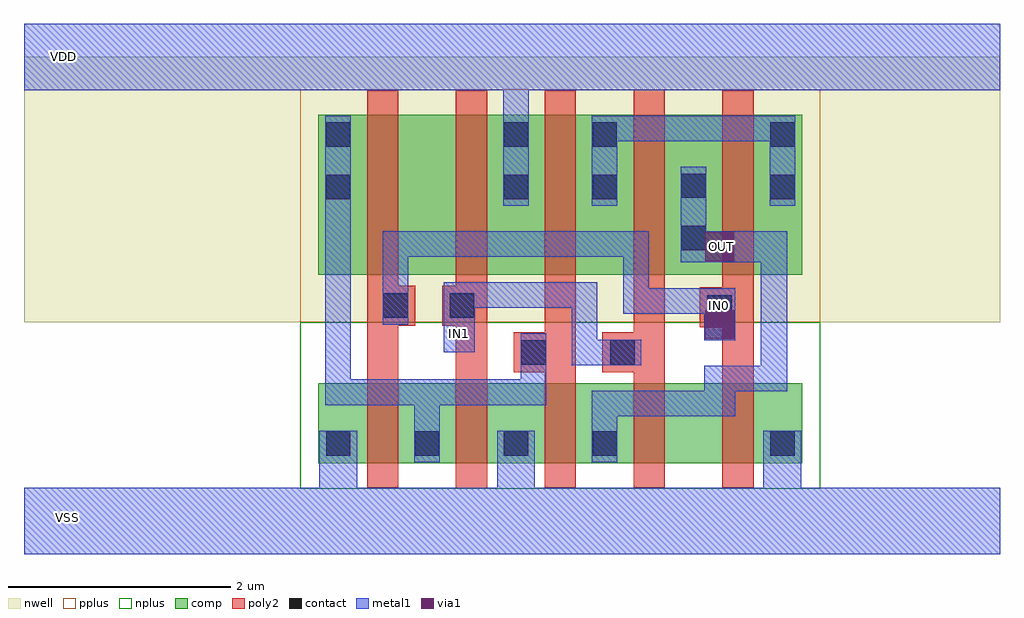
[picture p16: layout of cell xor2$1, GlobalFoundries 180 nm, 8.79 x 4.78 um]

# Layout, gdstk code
import gdstk
lib = gdstk.Library(unit=1e-6, precision=5e-09)
def R(c, l, rs):  # rectangles x0, y0, x1, y1
    for r in rs: c.add(gdstk.rectangle(r[:2], r[2:], *l))
def A(c, l, x, y, w, h, nx, ny, dx, dy):  # array of equal rectangles
    R(c, l, [(x+i*dx, y+j*dy, x+i*dx+w, y+j*dy+h) for i in range(nx) for j in range(ny)])
nwell = (21, 0)
comp = (22, 0)
poly2 = (30, 0)
pplus = (31, 0)
nplus = (32, 0)
contact = (33, 0)
metal1 = (34, 0)
via1 = (35, 0)

xor2_1 = lib.new_cell('xor2$1')
R(xor2_1, nwell, [(3.57,1.79,12.36,4.18)])
R(xor2_1, comp, [(6.22,0.52,10.58,1.24), (6.22,2.22,10.58,3.66)])
A(xor2_1, poly2, 6.66, 0.3, 0.28, 3.58, 3, 1, 1.6, 0)
R(xor2_1, poly2, [(7.46,0.295,7.74,3.88), (9.06,0.3,9.34,3.885), (7.98,1.34,8.34,1.7), (8.78,1.34,9.14,1.7), (9.655,1.745,10.015,2.105), (6.735,1.76,7.095,2.12), (7.335,1.76,7.695,2.12)])
R(xor2_1, pplus, [(6.06,1.79,10.74,3.89)])
R(xor2_1, nplus, [(6.06,0.29,10.74,1.79)])
A(xor2_1, contact, 6.29, 0.59, 0.22, 0.22, 4, 1, 0.8, 0)
R(xor2_1, contact, [(10.29,0.59,10.51,0.81), (8.05,1.41,8.27,1.63), (8.85,1.41,9.07,1.63), (9.725,1.815,9.945,2.035), (6.805,1.83,7.025,2.05), (7.405,1.83,7.625,2.05), (9.49,2.44,9.71,2.66), (6.29,2.9,6.51,3.12), (7.89,2.9,8.11,3.12), (8.69,2.9,8.91,3.12), (10.29,2.9,10.51,3.12), (9.49,2.91,9.71,3.13), (6.29,3.37,6.51,3.59), (7.89,3.37,8.11,3.59), (8.69,3.37,8.91,3.59), (10.29,3.37,10.51,3.59)])
R(xor2_1, metal1, [(3.57,-0.3,12.36,0.3), (6.23,0.3,6.57,0.815), (7.83,0.3,8.17,0.815), (10.23,0.3,10.57,0.815), (7.085,0.53,7.315,1.045), (8.685,0.53,8.915,1.175), (8.915,0.945,9.695,1.175), (9.695,0.945,9.975,1.4), (6.285,1.045,6.515,3.65), (6.515,1.045,8.275,1.275), (9.975,1.17,10.445,1.4), (8.045,1.275,8.275,1.69), (10.205,1.4,10.445,2.33), (8.505,1.405,8.735,1.92), (8.735,1.405,9.13,1.635), (7.35,1.52,7.63,2.15), (9.695,1.63,9.975,2.095), (6.8,1.77,7.03,2.61), (8.965,1.865,9.195,2.38), (9.195,1.865,9.695,2.095), (7.63,1.92,8.735,2.15), (9.485,2.33,9.715,3.19), (9.715,2.33,10.445,2.61), (7.03,2.38,9.195,2.61), (7.885,2.84,8.115,3.88), (8.685,2.84,8.915,3.65), (10.285,2.84,10.515,3.65), (8.915,3.42,10.285,3.65), (3.57,3.88,12.36,4.48)])
R(xor2_1, via1, [(9.705,1.64,9.965,1.9), (9.705,2.34,9.965,2.6)])
xor2_1.add(gdstk.Label('IN1', (7.49,1.69), layer=34, texttype=10))
xor2_1.add(gdstk.Label('VSS', (3.96,0.035), layer=34, texttype=10))
xor2_1.add(gdstk.Label('VDD', (3.925,4.185), layer=34, texttype=10))
xor2_1.add(gdstk.Label('IN0', (9.83,1.945), layer=36, texttype=10))
xor2_1.add(gdstk.Label('OUT', (9.855,2.47), layer=36, texttype=10))

lib.write_gds('xor2_1.gds')
